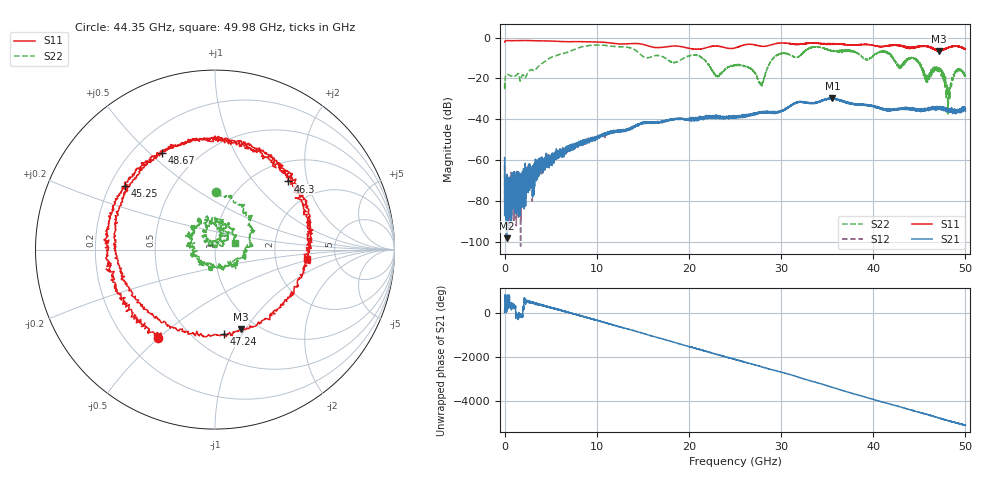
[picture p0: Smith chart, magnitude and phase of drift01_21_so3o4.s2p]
!Created with skrf (http://scikit-rf.org).
# Hz S RI R 50.0
!freq ReS11 ImS11 ReS21 ImS21 ReS12 ImS12 ReS22 ImS22
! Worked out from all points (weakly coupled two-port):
!   10001 points, 300 kHz to 50 GHz, reference 50 ohm
!   highest |S21| = -29.57 dB at 35.57 GHz (marker M1); lowest = -98.3 dB at 210.3 MHz (marker M2)
!   lowest |S11| = -6.6 dB at 47.17 GHz (marker M3), VSWR 2.74, Z = 42 - j47.6 ohm
!   |S11| at or under -10 dB: nowhere
!   |S22| runs from -37.3 to -3.6 dB; largest |S21 - S12| = 0.0038
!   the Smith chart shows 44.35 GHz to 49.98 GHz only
!   S11 on the Smith chart (normalised r, x): 44.35 GHz: 0.33, -0.50; 45.25 GHz: 0.26, +0.30; 46.3 GHz: 1.39, +1.52; 47.24 GHz: 0.69, -0.84; 48.67 GHz: 0.32, +0.55; 49.98 GHz: 3.05, -0.43
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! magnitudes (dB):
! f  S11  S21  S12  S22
! 300 kHz  -2.1  -58.8  -62.7  -22.1
! 210.3 MHz  -1.4  -98.3  -73.9  -18.0
! 8.335 GHz  -2.0  -51.3  -51.4  -4.6
! 16.67 GHz  -4.8  -41.4  -41.6  -8.7
! 20.97 GHz  -5.7  -39.3  -39.2  -8.8
! 23.08 GHz  -4.2  -39.1  -39.2  -18.7
! 25 GHz  -5.0  -38.8  -38.8  -13.6
! 27.83 GHz  -4.1  -37.1  -36.5  -22.8
! 29.48 GHz  -2.9  -36.7  -36.5  -8.8
! 33.34 GHz  -2.6  -32.1  -31.9  -4.8
! 35.57 GHz  -2.8  -29.6  -29.7  -6.3
! 41.67 GHz  -3.9  -34.8  -35.4  -7.7
! 42.84 GHz  -3.9  -34.9  -35.1  -13.9
! 44.35 GHz  -4.7  -35.4  -35.1  -9.8
! 45.25 GHz  -4.2  -35.6  -35.0  -14.4
! 46.3 GHz  -5.1  -34.7  -34.6  -16.0
! 47.17 GHz  -6.6  -34.7  -34.2  -14.8
! 47.24 GHz  -6.5  -34.6  -34.1  -17.3
! 48.12 GHz  -4.9  -35.4  -35.2  -33.5
! 48.67 GHz  -4.3  -35.8  -35.4  -19.6
! 49.98 GHz  -5.8  -34.4  -34.6  -18.4
! 50 GHz  -5.6  -35.9  -35.0  -18.6
